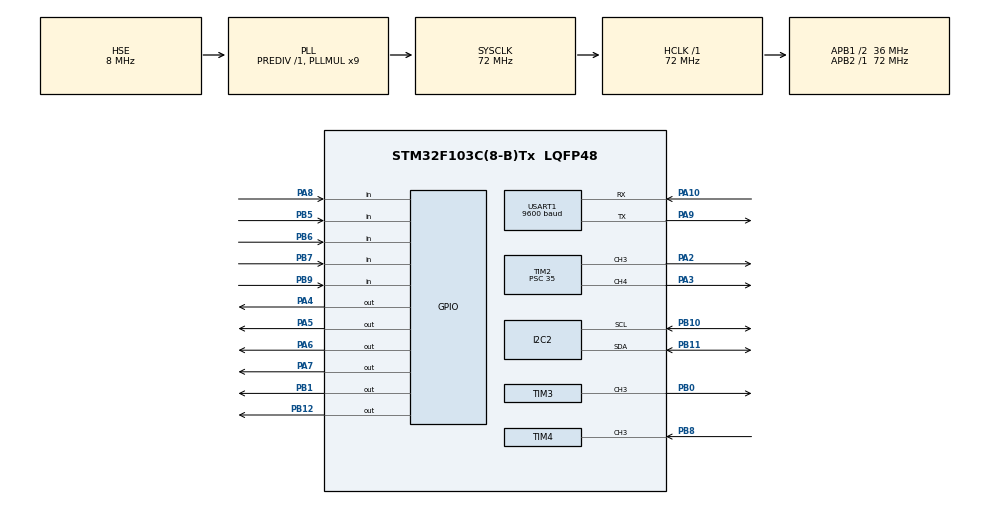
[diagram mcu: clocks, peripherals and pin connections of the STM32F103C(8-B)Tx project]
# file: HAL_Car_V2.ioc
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FREERTOS.Mutexes01=StartMutex,Dynamic,NULL
FREERTOS.Queues01=UartCmdQueue,8,uint8_t,0,Dynamic,NULL,NULL
FREERTOS.Tasks01=defaultTask,24,128,StartDefaultTask,Default,NULL,Dynamic,NULL,NULL;CmdTask,40,256,StartCmdTask,Default,NULL,Dynamic,NULL,NULL;ControlTask,24,512,StartControlTask,Default,NULL,Dynamic,NULL,NULL;OLEDDisplayTask,8,348,StartOLEDDisplayTask,Default,NULL,Dynamic,NULL,NULL;KeyScanTask,8,128,StartKeyScanTask,Default,NULL,Dynamic,NULL,NULL
FREERTOS.configTOTAL_HEAP_SIZE=8192
I2C2.I2C_Mode=I2C_Fast
Mcu.Family=STM32F1
Mcu.Name=STM32F103C(8-B)Tx
Mcu.Package=LQFP48
NVIC.PriorityGroup=NVIC_PRIORITYGROUP_4
NVIC.TIM1_UP_IRQn=true\:15\:0\:false\:false\:true\:false\:false\:true
NVIC.TimeBase=TIM1_UP_IRQn
NVIC.TimeBaseIP=TIM1
NVIC.USART1_IRQn=true\:5\:0\:false\:false\:true\:true\:true\:true
PA10.Mode=Asynchronous
PA10.Signal=USART1_RX
PA13.Mode=Serial_Wire
PA13.Signal=SYS_JTMS-SWDIO
PA14.Mode=Serial_Wire
PA14.Signal=SYS_JTCK-SWCLK
PA2.GPIO_Speed=GPIO_SPEED_FREQ_HIGH
PA2.Signal=S_TIM2_CH3
PA3.GPIO_Speed=GPIO_SPEED_FREQ_HIGH
PA3.Signal=S_TIM2_CH4
PA4.Signal=GPIO_Output
PA5.Signal=GPIO_Output
PA6.Signal=GPIO_Output
PA7.Signal=GPIO_Output
PA8.GPIO_PuPd=GPIO_PULLUP
PA8.Signal=GPIO_Input
PA9.Mode=Asynchronous
PA9.Signal=USART1_TX
PB0.GPIO_Speed=GPIO_SPEED_FREQ_HIGH
PB0.Signal=S_TIM3_CH3
PB1.PinState=GPIO_PIN_SET
PB1.Signal=GPIO_Output
PB10.Mode=I2C
PB10.Signal=I2C2_SCL
PB11.Mode=I2C
PB11.Signal=I2C2_SDA
PB12.Signal=GPIO_Output
PB5.Signal=GPIO_Input
PB6.Signal=GPIO_Input
PB7.Signal=GPIO_Input
PB8.Signal=S_TIM4_CH3
PB9.Signal=GPIO_Input
PD0-OSC_IN.Mode=HSE-External-Oscillator
PD0-OSC_IN.Signal=RCC_OSC_IN
PD1-OSC_OUT.Mode=HSE-External-Oscillator
PD1-OSC_OUT.Signal=RCC_OSC_OUT
ProjectManager.HeapSize=0x200
ProjectManager.StackSize=0x400
ProjectManager.TargetToolchain=MDK-ARM V5.32
RCC.AHBFreq_Value=72000000
RCC.APB1CLKDivider=RCC_HCLK_DIV2
RCC.APB1Freq_Value=36000000
RCC.APB1TimFreq_Value=72000000
RCC.APB2Freq_Value=72000000
RCC.APB2TimFreq_Value=72000000
RCC.HCLKFreq_Value=72000000
RCC.PLLMUL=RCC_PLL_MUL9
RCC.PLLSourceVirtual=RCC_PLLSOURCE_HSE
RCC.SYSCLKFreq_VALUE=72000000
RCC.SYSCLKSource=RCC_SYSCLKSOURCE_PLLCLK
RCC.USBFreq_Value=72000000
SH.S_TIM2_CH3.0=TIM2_CH3,PWM Generation3 CH3
SH.S_TIM2_CH4.0=TIM2_CH4,PWM Generation4 CH4
SH.S_TIM3_CH3.0=TIM3_CH3,PWM Generation3 CH3
SH.S_TIM4_CH3.0=TIM4_CH3,Input_Capture3_from_TI3
TIM2.AutoReloadPreload=TIM_AUTORELOAD_PRELOAD_ENABLE
TIM2.Channel-PWM\ Generation3\ CH3=TIM_CHANNEL_3
TIM2.Channel-PWM\ Generation4\ CH4=TIM_CHANNEL_4
TIM2.Period=99
TIM2.Prescaler=35
TIM3.AutoReloadPreload=TIM_AUTORELOAD_PRELOAD_ENABLE
TIM3.Channel-PWM\ Generation3\ CH3=TIM_CHANNEL_3
TIM3.Period=19999
TIM3.Prescaler=71
TIM4.AutoReloadPreload=TIM_AUTORELOAD_PRELOAD_ENABLE
TIM4.Channel-Input_Capture3_from_TI3=TIM_CHANNEL_3
TIM4.Channel-Input_Capture4_from_TI3_63=TIM_CHANNEL_4
TIM4.ICPolarity_CH4=TIM_INPUTCHANNELPOLARITY_FALLING
TIM4.Period=59999
TIM4.Prescaler=71
USART1.BaudRate=9600
USART1.VirtualMode=VM_ASYNC
VP_FREERTOS_VS_CMSIS_V2.Mode=CMSIS_V2
VP_SYS_VS_tim1.Mode=TIM1
VP_TIM2_VS_ClockSourceINT.Mode=Internal
VP_TIM3_VS_ClockSourceINT.Mode=Internal
VP_TIM4_VS_ClockSourceINT.Mode=Internal
VP_TIM4_VS_indirect_ch3.Mode=Input_Capture4_from_TI3_63
board=custom

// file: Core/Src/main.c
/* USER CODE BEGIN Header */
/**
  ******************************************************************************
  * @file           : main.c
  * @brief          : Main program body
  ******************************************************************************
  * @attention
  *
  * <h2><center>&copy; Copyright (c) 2026 STMicroelectronics.
  * All rights reserved.</center></h2>
  *
  * This software component is licensed by ST under BSD 3-Clause license,
  * the "License"; You may not use this file except in compliance with the
  * License. You may obtain a copy of the License at:
  *                        opensource.org/licenses/BSD-3-Clause
  *
  ******************************************************************************
  */
/* USER CODE END Header */
#include "main.h"
#include "cmsis_os.h"
#include "i2c.h"
#include "tim.h"
#include "usart.h"
#include "gpio.h"

/* USER CODE BEGIN Includes */
#include "Motor.h"
#include "Car.h"
#include "Servo.h"
#include "Ultrasound.h"
#include "Track.h"
#include "Avoid.h"
#include "Buzzer.h"
#include "font.h"
#include "oled.h"
#include "OLED_Display.h"
/* USER CODE END Includes */

/* USER CODE BEGIN PV */
  uint8_t Data;
  uint8_t mode = '0';
	uint32_t distanceMM = 0 ;
  uint32_t presstime ;
  uint8_t isPressed = 0 ;
/* USER CODE END PV */

void SystemClock_Config(void);
void MX_FREERTOS_Init(void);

int main(void)
{

  /* MCU Configuration--------------------------------------------------------*/

  /* Reset of all peripherals, Initializes the Flash interface and the Systick. */
  HAL_Init();

  /* Configure the system clock */
  SystemClock_Config();

  /* Initialize all configured peripherals */
  MX_GPIO_Init();
  MX_TIM2_Init();
  MX_TIM3_Init();
  MX_TIM4_Init();
  MX_USART1_UART_Init();
  MX_I2C2_Init();
  /* USER CODE BEGIN 2 */

  HAL_TIM_PWM_Start(&htim2,TIM_CHANNEL_3);
  HAL_TIM_PWM_Start(&htim2,TIM_CHANNEL_4);
  HAL_TIM_PWM_Start(&htim3,TIM_CHANNEL_3);

  HAL_UART_Receive_IT(&huart1, &Data, 1);

	HAL_Delay (20);
	OLED_Init ();
  /* USER CODE END 2 */

  /* Init scheduler */
  osKernelInitialize();  /* Call init function for freertos objects (in freertos.c) */
  MX_FREERTOS_Init();
  /* Start scheduler */
  osKernelStart();

  /* We should never get here as control is now taken by the scheduler */
  /* Infinite loop */
  while (1)
  {

  }
}

void SystemClock_Config(void)
{
  RCC_OscInitTypeDef RCC_OscInitStruct = {0};
  RCC_ClkInitTypeDef RCC_ClkInitStruct = {0};

  /** Initializes the RCC Oscillators according to the specified parameters
  * in the RCC_OscInitTypeDef structure.
  */
  RCC_OscInitStruct.OscillatorType = RCC_OSCILLATORTYPE_HSE;
  RCC_OscInitStruct.HSEState = RCC_HSE_ON;
  RCC_OscInitStruct.HSEPredivValue = RCC_HSE_PREDIV_DIV1;
  RCC_OscInitStruct.HSIState = RCC_HSI_ON;
  RCC_OscInitStruct.PLL.PLLState = RCC_PLL_ON;
  RCC_OscInitStruct.PLL.PLLSource = RCC_PLLSOURCE_HSE;
  RCC_OscInitStruct.PLL.PLLMUL = RCC_PLL_MUL9;
  if (HAL_RCC_OscConfig(&RCC_OscInitStruct) != HAL_OK)
  {
    Error_Handler();
  }
  /** Initializes the CPU, AHB and APB buses clocks
  */
  RCC_ClkInitStruct.ClockType = RCC_CLOCKTYPE_HCLK|RCC_CLOCKTYPE_SYSCLK
                              |RCC_CLOCKTYPE_PCLK1|RCC_CLOCKTYPE_PCLK2;
  RCC_ClkInitStruct.SYSCLKSource = RCC_SYSCLKSOURCE_PLLCLK;
  RCC_ClkInitStruct.AHBCLKDivider = RCC_SYSCLK_DIV1;
  RCC_ClkInitStruct.APB1CLKDivider = RCC_HCLK_DIV2;
  RCC_ClkInitStruct.APB2CLKDivider = RCC_HCLK_DIV1;

  if (HAL_RCC_ClockConfig(&RCC_ClkInitStruct, FLASH_LATENCY_2) != HAL_OK)
  {
    Error_Handler();
  }
}

/* USER CODE BEGIN 4 */
void HAL_UART_RxCpltCallback(UART_HandleTypeDef *huart)
{
  if(huart == &huart1)
  {
    osMessageQueuePut(UartCmdQueueHandle, &Data, 0, 0);
    HAL_UART_Receive_IT(&huart1, &Data, 1);
  }
}
/*void HAL_UART_RxCpltCallback(UART_HandleTypeDef *huart)
{
    if(huart == &huart1)
    	{
			if(Data=='A') { mode = 'A'; Car_Stop();Buzzer_Once(); }
			if(Data=='B') { mode = 'B'; Car_Stop(); Buzzer_Once();}
			if(Data== '0') { mode = '0';  Car_Stop(); Buzzer_Once();}
			if(mode == '0')
			{
				if(Data=='1')Car_Stop();
				if(Data=='2')Go_Ahead();
				if(Data=='3')Go_Back();
				if(Data=='4')Turn_Left();
				if(Data=='5')Turn_Right();
				if(Data=='6')Self_Left();
				if(Data=='7')Self_Right();
				if(Data=='8'&&CarSpeed < 90){CarSpeed = CarSpeed + 20;}
				if(Data=='9'&&CarSpeed > 50){CarSpeed = CarSpeed - 20;}
			}
			if(Data =='K') {BuzzerEnable = 1;}
			if(Data =='G') {BuzzerEnable = 0;}
			HAL_UART_Receive_IT(&huart1, &Data, 1);
		}
}*/
/* USER CODE END 4 */

void HAL_TIM_PeriodElapsedCallback(TIM_HandleTypeDef *htim)
{
  if (htim->Instance == TIM1) {
    HAL_IncTick();
  }
}

void Error_Handler(void)
{
  __disable_irq();
  while (1)
  {
  }
}

/************************ (C) COPYRIGHT STMicroelectronics *****END OF FILE****/

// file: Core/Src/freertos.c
/* USER CODE BEGIN Header */
/**
  ******************************************************************************
  * File Name          : freertos.c
  * Description        : Code for freertos applications
  ******************************************************************************
  * @attention
  *
  * <h2><center>&copy; Copyright (c) 2026 STMicroelectronics.
  * All rights reserved.</center></h2>
  *
  * This software component is licensed by ST under Ultimate Liberty license
  * SLA0044, the "License"; You may not use this file except in compliance with
  * the License. You may obtain a copy of the License at:
  *                             www.st.com/SLA0044
  *
  ******************************************************************************
  */
/* USER CODE END Header */

#include "FreeRTOS.h"
#include "task.h"
#include "main.h"
#include "cmsis_os.h"

/* USER CODE BEGIN Includes */
#include "Car.h"
#include "Buzzer.h"
#include "Track.h"
#include "Avoid.h"
#include "Ultrasound.h"
#include "oled.h"
#include "OLED_Display.h"
#include <stdio.h>
/* USER CODE END Includes */

/* USER CODE BEGIN Variables */
extern uint8_t mode;
extern uint8_t CarSpeed;
extern uint8_t BuzzerEnable;
extern uint32_t distanceMM;
extern osMutexId_t StartMutexHandle;
/* USER CODE END Variables */
/* Definitions for defaultTask */
osThreadId_t defaultTaskHandle;
const osThreadAttr_t defaultTask_attributes = {
  .name = "defaultTask",
  .stack_size = 128 * 4,
  .priority = (osPriority_t) osPriorityNormal,
};
/* Definitions for CmdTask */
osThreadId_t CmdTaskHandle;
const osThreadAttr_t CmdTask_attributes = {
  .name = "CmdTask",
  .stack_size = 256 * 4,
  .priority = (osPriority_t) osPriorityHigh,
};
/* Definitions for ControlTask */
osThreadId_t ControlTaskHandle;
const osThreadAttr_t ControlTask_attributes = {
  .name = "ControlTask",
  .stack_size = 512 * 4,
  .priority = (osPriority_t) osPriorityNormal,
};
/* Definitions for OLEDDisplayTask */
osThreadId_t OLEDDisplayTaskHandle;
const osThreadAttr_t OLEDDisplayTask_attributes = {
  .name = "OLEDDisplayTask",
  .stack_size = 348 * 4,
  .priority = (osPriority_t) osPriorityLow,
};
/* Definitions for KeyScanTask */
osThreadId_t KeyScanTaskHandle;
const osThreadAttr_t KeyScanTask_attributes = {
  .name = "KeyScanTask",
  .stack_size = 128 * 4,
  .priority = (osPriority_t) osPriorityLow,
};
/* Definitions for UartCmdQueue */
osMessageQueueId_t UartCmdQueueHandle;
const osMessageQueueAttr_t UartCmdQueue_attributes = {
  .name = "UartCmdQueue"
};
/* Definitions for StartMutex */
osMutexId_t StartMutexHandle;
const osMutexAttr_t StartMutex_attributes = {
  .name = "StartMutex"
};

void StartDefaultTask(void *argument);
void StartCmdTask(void *argument);
void StartControlTask(void *argument);
void StartOLEDDisplayTask(void *argument);
void StartKeyScanTask(void *argument);

void MX_FREERTOS_Init(void); /* (MISRA C 2004 rule 8.1) */

void MX_FREERTOS_Init(void) {
  /* Create the mutex(es) */
  /* creation of StartMutex */
  StartMutexHandle = osMutexNew(&StartMutex_attributes);

  /* Create the queue(s) */
  /* creation of UartCmdQueue */
  UartCmdQueueHandle = osMessageQueueNew (8, sizeof(uint8_t), &UartCmdQueue_attributes);

  /* Create the thread(s) */
  /* creation of defaultTask */
  defaultTaskHandle = osThreadNew(StartDefaultTask, NULL, &defaultTask_attributes);

  /* creation of CmdTask */
  CmdTaskHandle = osThreadNew(StartCmdTask, NULL, &CmdTask_attributes);

  /* creation of ControlTask */
  ControlTaskHandle = osThreadNew(StartControlTask, NULL, &ControlTask_attributes);

  /* creation of OLEDDisplayTask */
  OLEDDisplayTaskHandle = osThreadNew(StartOLEDDisplayTask, NULL, &OLEDDisplayTask_attributes);

  /* creation of KeyScanTask */
  KeyScanTaskHandle = osThreadNew(StartKeyScanTask, NULL, &KeyScanTask_attributes);

}

void StartDefaultTask(void *argument)
{
  for(;;)
  {
    osDelay(1);
  }
}

void StartCmdTask(void *argument)
{
  /* USER CODE BEGIN StartCmdTask */
  /* Infinite loop */
	uint8_t cmd;
for(;;)
{
  osMessageQueueGet(UartCmdQueueHandle, &cmd, NULL, osWaitForever);

  uint8_t curMode;
  uint8_t needStop = 0, needBuzzer = 0;

osMutexAcquire(StartMutexHandle, osWaitForever);

if(cmd == 'A') { mode = 'A'; needStop = 1; needBuzzer = 1; }
if(cmd == 'B') { mode = 'B'; needStop = 1; needBuzzer = 1; }
if(cmd == '0') { mode = '0'; needStop = 1; needBuzzer = 1; }

curMode = mode;

if(curMode == '0')
{
  if(cmd == '8' && CarSpeed < 90) { CarSpeed = CarSpeed + 20; }
  if(cmd == '9' && CarSpeed > 50) { CarSpeed = CarSpeed - 20; }
}

if(cmd == 'K') { BuzzerEnable = 1; }
if(cmd == 'G') { BuzzerEnable = 0; }

osMutexRelease(StartMutexHandle);

if(needStop) Car_Stop();
if(needBuzzer) Buzzer_Once();

if(curMode == '0')
{
  if(cmd == '1') Car_Stop();
  if(cmd == '2') Go_Ahead();
  if(cmd == '3') Go_Back();
  if(cmd == '4') Turn_Left();
  if(cmd == '5') Turn_Right();
  if(cmd == '6') Self_Left();
  if(cmd == '7') Self_Right();
}
}
  /* USER CODE END StartCmdTask */
}

void StartControlTask(void *argument)
{
  /* USER CODE BEGIN StartControlTask */
  /* Infinite loop */
  for(;;)
  {
    uint8_t curMode;
    osMutexAcquire(StartMutexHandle, osWaitForever);
    curMode = mode;
    osMutexRelease(StartMutexHandle);

    if(curMode == 'A') Avoid_Run();
    else if(curMode == 'B') Track_Run();

    osDelay(pdMS_TO_TICKS(50));
  }
  /* USER CODE END StartControlTask */
}

void StartOLEDDisplayTask(void *argument)
{
  /* USER CODE BEGIN StartOLEDDisplayTask */
  char buf[24];
  uint8_t mode_local;
  uint8_t speed_local;
  uint8_t buzzer_local;
  uint32_t dist_local;

  for(;;)
  {
    osMutexAcquire(StartMutexHandle, osWaitForever);
    mode_local   = mode;
    speed_local  = CarSpeed;
    buzzer_local = BuzzerEnable;
    dist_local   = distanceMM;
    osMutexRelease(StartMutexHandle);

    OLED_NewFrame();

    if (mode_local == 'A')
        OLED_PrintASCIIString(0, 0, "A: Avoid", &afont16x8, OLED_COLOR_NORMAL);
    else if (mode_local == 'B')
        OLED_PrintASCIIString(0, 0, "B: Track", &afont16x8, OLED_COLOR_NORMAL);
    else
        OLED_PrintASCIIString(0, 0, "0: Manual", &afont16x8, OLED_COLOR_NORMAL);

    if (mode_local == 'A')
    {
        sprintf(buf, "Dist: %umm", dist_local);
        OLED_PrintASCIIString(0, 16, buf, &afont16x8, OLED_COLOR_NORMAL);
    }

    sprintf(buf, "Speed: %d", speed_local);
    OLED_PrintASCIIString(0, 32, buf, &afont16x8, OLED_COLOR_NORMAL);

    OLED_PrintASCIIString(0, 48, buzzer_local ? "Buzzer: Open" : "Buzzer: Close", &afont16x8, OLED_COLOR_NORMAL);

    OLED_ShowFrame();

    osDelay(pdMS_TO_TICKS(500));
  }
  /* USER CODE END StartOLEDDisplayTask */
}

void StartKeyScanTask(void *argument)
{
  /* USER CODE BEGIN StartKeyScanTask */
  static enum {IDLE, PRESSED} keyState = IDLE;
  static uint32_t pressTick = 0;

  for(;;)
  {
    uint8_t pinVal = HAL_GPIO_ReadPin(GPIOA, GPIO_PIN_8);

    switch(keyState)
    {
      case IDLE:
        if(pinVal == 0)
        {
          pressTick = osKernelGetTickCount();
          keyState = PRESSED;
        }
        break;

      case PRESSED:
        if(pinVal == 1)
        {
          if(osKernelGetTickCount() - pressTick > pdMS_TO_TICKS(1000))
          {
            osMutexAcquire(StartMutexHandle, osWaitForever);
            if(mode == '0') mode = 'A';
            else if(mode == 'A') mode = 'B';
            else mode = '0';
            osMutexRelease(StartMutexHandle);

            Buzzer_Once();
          }
          keyState = IDLE;
        }
        break;
    }

    osDelay(pdMS_TO_TICKS(20));
  }
  /* USER CODE END StartKeyScanTask */
}

/************************ (C) COPYRIGHT STMicroelectronics *****END OF FILE****/
